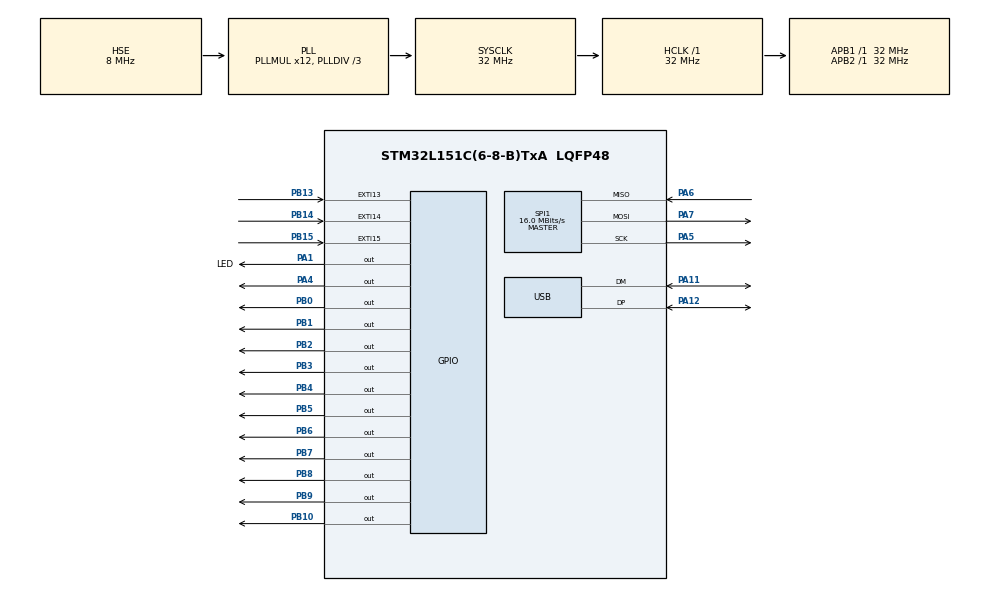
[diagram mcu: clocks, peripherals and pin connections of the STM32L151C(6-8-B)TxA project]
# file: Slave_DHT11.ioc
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Mcu.Family=STM32L1
Mcu.Name=STM32L151C(6-8-B)TxA
Mcu.Package=LQFP48
NVIC.EXTI15_10_IRQn=true\:0\:0\:false\:false\:true\:true\:true
NVIC.PriorityGroup=NVIC_PRIORITYGROUP_4
NVIC.TIM11_IRQn=true\:1\:0\:true\:false\:true\:true\:true
NVIC.USB_LP_IRQn=true\:0\:0\:false\:false\:true\:false\:true
PA1.GPIO_Label=LED
PA1.Signal=GPIO_Output
PA11.Mode=Device
PA11.Signal=USB_DM
PA12.Mode=Device
PA12.Signal=USB_DP
PA13.Mode=Serial_Wire
PA13.Signal=SYS_JTMS-SWDIO
PA14.Mode=Serial_Wire
PA14.Signal=SYS_JTCK-SWCLK
PA4.GPIO_Speed=GPIO_SPEED_FREQ_VERY_HIGH
PA4.Signal=GPIO_Output
PA5.Mode=Full_Duplex_Master
PA5.Signal=SPI1_SCK
PA6.Mode=Full_Duplex_Master
PA6.Signal=SPI1_MISO
PA7.Mode=Full_Duplex_Master
PA7.Signal=SPI1_MOSI
PB0.GPIO_Speed=GPIO_SPEED_FREQ_VERY_HIGH
PB0.Signal=GPIO_Output
PB1.GPIO_Speed=GPIO_SPEED_FREQ_VERY_HIGH
PB1.Signal=GPIO_Output
PB10.GPIO_Speed=GPIO_SPEED_FREQ_VERY_HIGH
PB10.Signal=GPIO_Output
PB13.GPIO_PuPd=GPIO_PULLDOWN
PB13.Signal=GPXTI13
PB14.GPIO_PuPd=GPIO_PULLDOWN
PB14.Signal=GPXTI14
PB15.GPIO_PuPd=GPIO_PULLDOWN
PB15.Signal=GPXTI15
PB2.GPIO_Speed=GPIO_SPEED_FREQ_VERY_HIGH
PB2.Signal=GPIO_Output
PB3.GPIO_Speed=GPIO_SPEED_FREQ_VERY_HIGH
PB3.Signal=GPIO_Output
PB4.GPIO_Speed=GPIO_SPEED_FREQ_VERY_HIGH
PB4.Signal=GPIO_Output
PB5.GPIO_Speed=GPIO_SPEED_FREQ_VERY_HIGH
PB5.Signal=GPIO_Output
PB6.GPIO_Speed=GPIO_SPEED_FREQ_VERY_HIGH
PB6.Signal=GPIO_Output
PB7.GPIO_Speed=GPIO_SPEED_FREQ_VERY_HIGH
PB7.Signal=GPIO_Output
PB8.GPIO_Speed=GPIO_SPEED_FREQ_VERY_HIGH
PB8.Signal=GPIO_Output
PB9.GPIO_Speed=GPIO_SPEED_FREQ_VERY_HIGH
PB9.PinState=GPIO_PIN_SET
PB9.Signal=GPIO_Output
PC14-OSC32_IN.Mode=LSE-External-Oscillator
PC14-OSC32_IN.Signal=RCC_OSC32_IN
PC15-OSC32_OUT.Mode=LSE-External-Oscillator
PC15-OSC32_OUT.Signal=RCC_OSC32_OUT
PH0-OSC_IN.Mode=HSE-External-Oscillator
PH0-OSC_IN.Signal=RCC_OSC_IN
PH1-OSC_OUT.Mode=HSE-External-Oscillator
PH1-OSC_OUT.Signal=RCC_OSC_OUT
ProjectManager.HeapSize=0x200
ProjectManager.StackSize=0x400
ProjectManager.TargetToolchain=MDK-ARM V5.27
RCC.48MHZClocksFreq_Value=48000000
RCC.AHBFreq_Value=32000000
RCC.APB1Freq_Value=32000000
RCC.APB1TimFreq_Value=32000000
RCC.APB2Freq_Value=32000000
RCC.APB2TimFreq_Value=32000000
RCC.HCLKFreq_Value=32000000
RCC.HSE_VALUE=8000000
RCC.HSI_VALUE=16000000
RCC.MSI_VALUE=2097000
RCC.PLLDIV=RCC_PLL_DIV3
RCC.PLLMUL=RCC_PLL_MUL12
RCC.SYSCLKFreq_VALUE=32000000
RCC.SYSCLKSource=RCC_SYSCLKSOURCE_PLLCLK
RCC.VCOOutputFreq_Value=96000000
SPI1.CalculateBaudRate=16.0 MBits/s
SPI1.Direction=SPI_DIRECTION_2LINES
SPI1.Mode=SPI_MODE_MASTER
SPI1.VirtualType=VM_MASTER
TIM10.Period=0xffff-1
TIM10.Prescaler=32-1
TIM11.AutoReloadPreload=TIM_AUTORELOAD_PRELOAD_ENABLE
TIM11.Period=1000
TIM11.Prescaler=32000-1
USB_DEVICE.CLASS_NAME_FS=CDC
USB_DEVICE.VirtualMode=Cdc
USB_DEVICE.VirtualModeFS=Cdc_FS
VP_TIM10_VS_ClockSourceINT.Mode=Internal
VP_TIM11_VS_ClockSourceINT.Mode=Internal
VP_USB_DEVICE_VS_USB_DEVICE_CDC_FS.Mode=CDC_FS
board=custom

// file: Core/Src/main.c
/* USER CODE BEGIN Header */
/**
  ******************************************************************************
  * @file           : main.c
  * @brief          : Main program body
  ******************************************************************************
  * @attention
  *
  * <h2><center>&copy; Copyright (c) 2020 STMicroelectronics.
  * All rights reserved.</center></h2>
  *
  * This software component is licensed by ST under Ultimate Liberty license
  * SLA0044, the "License"; You may not use this file except in compliance with
  * the License. You may obtain a copy of the License at:
  *                             www.st.com/SLA0044
  *
  ******************************************************************************
  */
/* USER CODE END Header */

#include "main.h"
#include "usb_device.h"

/* USER CODE BEGIN Includes */
//#include "usbd_cdc_if.h"
#include <stdio.h>
#include <stdint.h>
#include <stdbool.h>
#include <string.h>
//#include "lcd.h"
//#include "gui.h"
#include "dht11.h"
#include "SX127X_Driver.h"
/* USER CODE END Includes */

/* USER CODE BEGIN PM */
enum DemoInternalStates
{
  APP_RNG = 0, // nothing to do (or wait a radio interrupt)
  RX_DONE,
  TX_DONE,
  TX_ING,
  APP_IDLE,
};

DHT11_Data_TypeDef getdata;
/* USER CODE END PM */

SPI_HandleTypeDef hspi1;

TIM_HandleTypeDef htim10;
TIM_HandleTypeDef htim11;

/* USER CODE BEGIN PV */
uint8_t TXbuffer[8] = {0};
uint8_t RXbuffer[8] = {0};
uint32_t Fre[5] = {470800000, 494600000, 510000000, 868000000, 915000000};
uint8_t communication_states;
/* USER CODE END PV */

void SystemClock_Config(void);
static void MX_GPIO_Init(void);
static void MX_SPI1_Init(void);
static void MX_TIM11_Init(void);
static void MX_TIM10_Init(void);
/* USER CODE BEGIN PFP */
void MX_TIM11_Init_Ms(uint16_t time);
/* USER CODE END PFP */

int main(void)
{

  /* MCU Configuration--------------------------------------------------------*/

  /* Reset of all peripherals, Initializes the Flash interface and the Systick. */
  HAL_Init();

  /* Configure the system clock */
  SystemClock_Config();

  /* Initialize all configured peripherals */
  MX_GPIO_Init();
  MX_SPI1_Init();
  MX_TIM11_Init();
  MX_USB_DEVICE_Init();
  MX_TIM10_Init();
  /* USER CODE BEGIN 2 */
  G_LoRaConfig.LoRa_Freq = Fre[0];      //中心频率470MHz
  G_LoRaConfig.BandWidth = BW125KHZ;    //BW = 125KHz  BW125KHZ
  G_LoRaConfig.SpreadingFactor = SF09;  //SF = 9
  G_LoRaConfig.CodingRate = CR_4_6;     //CR = 4/6
  G_LoRaConfig.PowerCfig = 15;          //19±1dBm
  G_LoRaConfig.MaxPowerOn = true;       //最大功率开启
  G_LoRaConfig.CRCON = true;            //CRC校验开启
  G_LoRaConfig.ExplicitHeaderOn = true; //Header开启
  G_LoRaConfig.PayloadLength = 8;       //数据包长度

  while(1)
  {
    if(SX127X_Lora_init() == NORMAL)
    {
      break;
    }
  }

  HAL_TIM_Base_Stop_IT(&htim11);

  DIO0_EnableInterrupt();
  SX127X_StartRx();
//  MX_TIM11_Init_Ms(2000);
//  HAL_TIM_Base_Start_IT(&htim11);
  /* USER CODE END 2 */

  /* Infinite loop */
  /* USER CODE BEGIN WHILE */
  while (1)
  {
    switch(communication_states)
    {
      case APP_IDLE:
        break;

      case TX_ING:
        HAL_Delay(50);
        memset(TXbuffer, 0x00, sizeof(TXbuffer));
        TXbuffer[0]=0x01;
        if(Read_DHT11(&getdata)==SUCCESS)
        {
          TXbuffer[1]=getdata.Rh_int;
          TXbuffer[2]=getdata.Rh_deci;
          TXbuffer[3]=getdata.temp_int;
          TXbuffer[4]=getdata.temp_deci;
        }
        DIO0_EnableInterrupt();
        SX127X_TxPacket(TXbuffer);
        communication_states = APP_IDLE;
        break;

      case TX_DONE:
        SX127X_StandbyMode();
        DIO0_EnableInterrupt();
        SX127X_StartRx();
        communication_states = APP_IDLE;
        break;

      case RX_DONE:
        DIO0_DisableInterrupt();
        SX127X_RxPacket(RXbuffer);
        if(RXbuffer[0]==0x01 && RXbuffer[5]==0xff)
        {
          communication_states = TX_ING;
        }
        else
        {
          communication_states = TX_DONE;
        }
        break;

      default:
        break;
    }
    /* USER CODE END WHILE */

  }
}

void SystemClock_Config(void)
{
  RCC_OscInitTypeDef RCC_OscInitStruct = {0};
  RCC_ClkInitTypeDef RCC_ClkInitStruct = {0};

  /** Configure the main internal regulator output voltage
  */
  __HAL_PWR_VOLTAGESCALING_CONFIG(PWR_REGULATOR_VOLTAGE_SCALE1);
  /** Initializes the CPU, AHB and APB busses clocks
  */
  RCC_OscInitStruct.OscillatorType = RCC_OSCILLATORTYPE_HSE;
  RCC_OscInitStruct.HSEState = RCC_HSE_ON;
  RCC_OscInitStruct.PLL.PLLState = RCC_PLL_ON;
  RCC_OscInitStruct.PLL.PLLSource = RCC_PLLSOURCE_HSE;
  RCC_OscInitStruct.PLL.PLLMUL = RCC_PLL_MUL12;
  RCC_OscInitStruct.PLL.PLLDIV = RCC_PLL_DIV3;
  if (HAL_RCC_OscConfig(&RCC_OscInitStruct) != HAL_OK)
  {
    Error_Handler();
  }
  /** Initializes the CPU, AHB and APB busses clocks
  */
  RCC_ClkInitStruct.ClockType = RCC_CLOCKTYPE_HCLK|RCC_CLOCKTYPE_SYSCLK
                              |RCC_CLOCKTYPE_PCLK1|RCC_CLOCKTYPE_PCLK2;
  RCC_ClkInitStruct.SYSCLKSource = RCC_SYSCLKSOURCE_PLLCLK;
  RCC_ClkInitStruct.AHBCLKDivider = RCC_SYSCLK_DIV1;
  RCC_ClkInitStruct.APB1CLKDivider = RCC_HCLK_DIV1;
  RCC_ClkInitStruct.APB2CLKDivider = RCC_HCLK_DIV1;

  if (HAL_RCC_ClockConfig(&RCC_ClkInitStruct, FLASH_LATENCY_1) != HAL_OK)
  {
    Error_Handler();
  }
}

static void MX_SPI1_Init(void)
{

  /* SPI1 parameter configuration*/
  hspi1.Instance = SPI1;
  hspi1.Init.Mode = SPI_MODE_MASTER;
  hspi1.Init.Direction = SPI_DIRECTION_2LINES;
  hspi1.Init.DataSize = SPI_DATASIZE_8BIT;
  hspi1.Init.CLKPolarity = SPI_POLARITY_LOW;
  hspi1.Init.CLKPhase = SPI_PHASE_1EDGE;
  hspi1.Init.NSS = SPI_NSS_SOFT;
  hspi1.Init.BaudRatePrescaler = SPI_BAUDRATEPRESCALER_2;
  hspi1.Init.FirstBit = SPI_FIRSTBIT_MSB;
  hspi1.Init.TIMode = SPI_TIMODE_DISABLE;
  hspi1.Init.CRCCalculation = SPI_CRCCALCULATION_DISABLE;
  hspi1.Init.CRCPolynomial = 10;
  if (HAL_SPI_Init(&hspi1) != HAL_OK)
  {
    Error_Handler();
  }

}

static void MX_TIM10_Init(void)
{

  TIM_ClockConfigTypeDef sClockSourceConfig = {0};

  htim10.Instance = TIM10;
  htim10.Init.Prescaler = 32-1;
  htim10.Init.CounterMode = TIM_COUNTERMODE_UP;
  htim10.Init.Period = 0xffff-1;
  htim10.Init.ClockDivision = TIM_CLOCKDIVISION_DIV1;
  htim10.Init.AutoReloadPreload = TIM_AUTORELOAD_PRELOAD_DISABLE;
  if (HAL_TIM_Base_Init(&htim10) != HAL_OK)
  {
    Error_Handler();
  }
  sClockSourceConfig.ClockSource = TIM_CLOCKSOURCE_INTERNAL;
  if (HAL_TIM_ConfigClockSource(&htim10, &sClockSourceConfig) != HAL_OK)
  {
    Error_Handler();
  }

}

static void MX_TIM11_Init(void)
{

  TIM_ClockConfigTypeDef sClockSourceConfig = {0};

  htim11.Instance = TIM11;
  htim11.Init.Prescaler = 32000-1;
  htim11.Init.CounterMode = TIM_COUNTERMODE_UP;
  htim11.Init.Period = 1000;
  htim11.Init.ClockDivision = TIM_CLOCKDIVISION_DIV1;
  htim11.Init.AutoReloadPreload = TIM_AUTORELOAD_PRELOAD_ENABLE;
  if (HAL_TIM_Base_Init(&htim11) != HAL_OK)
  {
    Error_Handler();
  }
  sClockSourceConfig.ClockSource = TIM_CLOCKSOURCE_INTERNAL;
  if (HAL_TIM_ConfigClockSource(&htim11, &sClockSourceConfig) != HAL_OK)
  {
    Error_Handler();
  }

}

static void MX_GPIO_Init(void)
{
  GPIO_InitTypeDef GPIO_InitStruct = {0};

  /* GPIO Ports Clock Enable */
  __HAL_RCC_GPIOC_CLK_ENABLE();
  __HAL_RCC_GPIOH_CLK_ENABLE();
  __HAL_RCC_GPIOA_CLK_ENABLE();
  __HAL_RCC_GPIOB_CLK_ENABLE();

  /*Configure GPIO pin Output Level */
  HAL_GPIO_WritePin(GPIOA, LED_Pin|GPIO_PIN_4, GPIO_PIN_RESET);

  /*Configure GPIO pin Output Level */
  HAL_GPIO_WritePin(GPIOB, GPIO_PIN_0|GPIO_PIN_1|GPIO_PIN_2|GPIO_PIN_10
                          |GPIO_PIN_3|GPIO_PIN_4|GPIO_PIN_5|GPIO_PIN_6
                          |GPIO_PIN_7|GPIO_PIN_8, GPIO_PIN_RESET);

  /*Configure GPIO pin Output Level */
  HAL_GPIO_WritePin(GPIOB, GPIO_PIN_9, GPIO_PIN_SET);

  /*Configure GPIO pin : LED_Pin */
  GPIO_InitStruct.Pin = LED_Pin;
  GPIO_InitStruct.Mode = GPIO_MODE_OUTPUT_PP;
  GPIO_InitStruct.Pull = GPIO_NOPULL;
  GPIO_InitStruct.Speed = GPIO_SPEED_FREQ_LOW;
  HAL_GPIO_Init(LED_GPIO_Port, &GPIO_InitStruct);

  /*Configure GPIO pin : PA4 */
  GPIO_InitStruct.Pin = GPIO_PIN_4;
  GPIO_InitStruct.Mode = GPIO_MODE_OUTPUT_PP;
  GPIO_InitStruct.Pull = GPIO_NOPULL;
  GPIO_InitStruct.Speed = GPIO_SPEED_FREQ_VERY_HIGH;
  HAL_GPIO_Init(GPIOA, &GPIO_InitStruct);

  /*Configure GPIO pins : PB0 PB1 PB2 PB10
                           PB3 PB4 PB5 PB6
                           PB7 PB8 PB9 */
  GPIO_InitStruct.Pin = GPIO_PIN_0|GPIO_PIN_1|GPIO_PIN_2|GPIO_PIN_10
                          |GPIO_PIN_3|GPIO_PIN_4|GPIO_PIN_5|GPIO_PIN_6
                          |GPIO_PIN_7|GPIO_PIN_8|GPIO_PIN_9;
  GPIO_InitStruct.Mode = GPIO_MODE_OUTPUT_PP;
  GPIO_InitStruct.Pull = GPIO_NOPULL;
  GPIO_InitStruct.Speed = GPIO_SPEED_FREQ_VERY_HIGH;
  HAL_GPIO_Init(GPIOB, &GPIO_InitStruct);

  /*Configure GPIO pins : PB13 PB14 PB15 */
  GPIO_InitStruct.Pin = GPIO_PIN_13|GPIO_PIN_14|GPIO_PIN_15;
  GPIO_InitStruct.Mode = GPIO_MODE_IT_RISING;
  GPIO_InitStruct.Pull = GPIO_PULLDOWN;
  HAL_GPIO_Init(GPIOB, &GPIO_InitStruct);

  /* EXTI interrupt init*/
  HAL_NVIC_SetPriority(EXTI15_10_IRQn, 0, 0);
  HAL_NVIC_EnableIRQ(EXTI15_10_IRQn);

}

/* USER CODE BEGIN 4 */
void MX_TIM11_Init_Ms(uint16_t time)
{
  TIM_ClockConfigTypeDef sClockSourceConfig;
  TIM_MasterConfigTypeDef sMasterConfig;

  htim11.Instance = TIM11;
  htim11.Init.Prescaler = 32000-1;
  htim11.Init.CounterMode = TIM_COUNTERMODE_UP;
  htim11.Init.Period = time-1;
  htim11.Init.ClockDivision = TIM_CLOCKDIVISION_DIV1;
  if (HAL_TIM_Base_Init(&htim11) != HAL_OK)
  {
    return;
  }

  sClockSourceConfig.ClockSource = TIM_CLOCKSOURCE_INTERNAL;
  if (HAL_TIM_ConfigClockSource(&htim11, &sClockSourceConfig) != HAL_OK)
  {
    return;
  }

  sMasterConfig.MasterOutputTrigger = TIM_TRGO_RESET;
  sMasterConfig.MasterSlaveMode = TIM_MASTERSLAVEMODE_DISABLE;
  if (HAL_TIMEx_MasterConfigSynchronization(&htim11, &sMasterConfig) != HAL_OK)
  {
    return;
  }
}

void HAL_GPIO_EXTI_Callback(uint16_t GPIO_Pin)
{
  if(DIO0_GetState() == GPIO_PIN_SET)
  {
    uint8_t flag;
    SX127X_Read(REG_LR_IRQFLAGS, &flag);
    SX127X_Write(REG_LR_IRQFLAGS, 0xff); //clear flags
    if(flag & RFLR_IRQFLAGS_TXDONE)
    {
      communication_states = TX_DONE;
    }
    else
    {
      if(flag & RFLR_IRQFLAGS_RXDONE)
      {
        communication_states = RX_DONE;
      }
      else
      {
        DIO0_EnableInterrupt();
        SX127X_StartRx();
      }
    }
  }
}

void HAL_TIM_PeriodElapsedCallback(TIM_HandleTypeDef *htim)
{
  if(htim==&htim11)
  {
    communication_states = TX_ING;
    HAL_GPIO_TogglePin(GPIOA,GPIO_PIN_1);
  }
}
/* USER CODE END 4 */

void Error_Handler(void)
{
}

/************************ (C) COPYRIGHT STMicroelectronics *****END OF FILE****/
